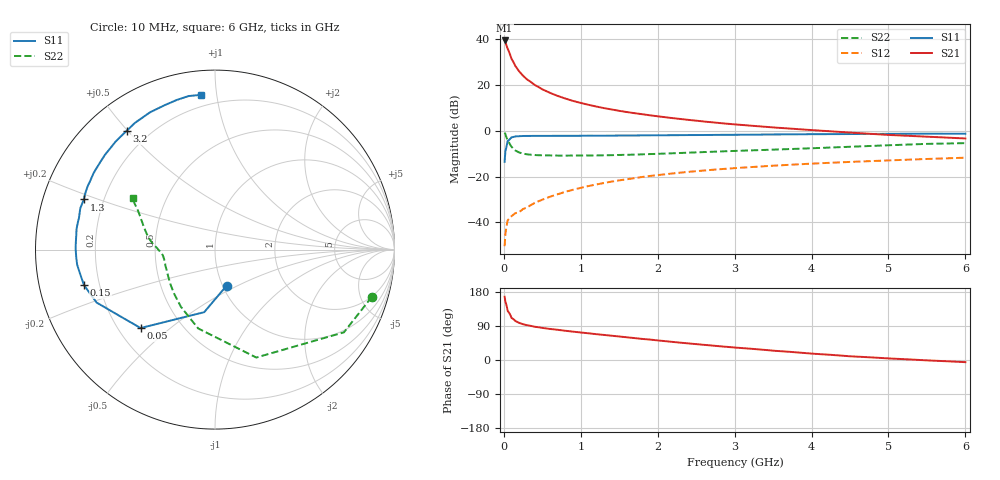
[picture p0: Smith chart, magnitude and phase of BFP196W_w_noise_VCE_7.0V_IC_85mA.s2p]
! (c) 2017  Infineon Technologies AG, Munich
! Infineon Technologies  Discrete & RF Semiconductors
! BFP196W
! VCE =  7.0 V,  IC =  85 mA
! Common Emitter S-Parameters:  Jan 2017
# GHz  S  MA  R  50
!  f  S11  S21  S12  S22
! GHz  MAG  ANG  MAG  ANG  MAG  ANG  MAG  ANG
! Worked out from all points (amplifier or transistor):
!   77 points, 10 MHz to 6 GHz, reference 50 ohm
!   highest |S21| = 39.6 dB at 10 MHz (marker M1)
!   |S21| within 3 dB of that: start of sweep to 43.19 MHz
!   unconditionally stable (mu >= 1): 542.9 MHz to 3.296 GHz
!   at 130 MHz: K = 0.52, MSG = 33.1 dB, |S12| = -36.5 dB
!   at 2.2 GHz: K = 1.04, MAG = 10.9 dB, |S12| = -18.6 dB
!   at 6 GHz: K = 0.94, MSG = 4.2 dB, |S12| = -11.7 dB
!   lowest NFmin = 1.73 dB at 450 MHz
!   S11 on the Smith chart (normalised r, x): 10 MHz: 1.04, -0.44; 50 MHz: 0.29, -0.40; 150 MHz: 0.14, -0.13; 1.3 GHz: 0.13, +0.18; 3.2 GHz: 0.12, +0.50; 6 GHz: 0.13, +0.91
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0.01  0.2111 -72.2  95.09 167.0  0.003 77.0  0.9124 -16.8
0.02  0.354 -99.8  88.38 154.3  0.0055 67.7  0.8535 -32.7
0.05  0.6024 -133.5  62.68 129.3  0.011 50.2  0.6437 -69.1
0.1  0.7227 -155.9  37.68 110.9  0.0136 44.2  0.4492 -102.0
0.15  0.7562 -164.8  26.24 102.9  0.0158 46.0  0.371 -120.8
0.2  0.7641 -170.0  19.94 97.9  0.0167 50.0  0.3367 -132.1
0.25  0.7726 -173.7  16.07 94.4  0.0195 51.4  0.3179 -140.4
0.3  0.7741 -176.4  13.42 91.9  0.0211 54.9  0.3067 -146.1
0.4  0.7768 179.5  10.14 87.8  0.0264 59.6  0.296 -153.9
0.5  0.7764 176.5  8.12 84.7  0.0312 62.4  0.2916 -158.8
0.6  0.7772 173.7  6.79 82.0  0.0362 62.9  0.2903 -162.3
0.7  0.7799 171.6  5.813 79.7  0.041 65.2  0.2877 -164.9
0.9  0.7781 167.0  4.518 74.8  0.0514 65.9  0.2885 -168.5
1.1  0.785 163.0  3.719 70.5  0.062 65.7  0.2899 -170.9
1.3  0.7827 159.1  3.15 66.2  0.0722 64.7  0.2919 -173.2
1.6  0.7927 153.4  2.58 59.9  0.0873 63.2  0.2996 -176.3
2.1  0.8019 144.3  1.988 49.7  0.1124 59.1  0.3189 179.3
3.1  0.8223 128.2  1.345 31.4  0.1568 50.0  0.3686 171.0
3.2  0.8246 126.7  1.304 29.9  0.1608 49.1  0.3733 170.0
4.1  0.8467 114.1  1.015 15.6  0.1953 41.2  0.4225 161.2
5.1  0.8618 103.3  0.801 3.2  0.229 33.2  0.4911 152.2
6  0.8655 95.0  0.682 -5.7  0.2589 26.1  0.5393 147.6
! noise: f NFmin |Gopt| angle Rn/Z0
0.45  1.73  0.57  -175  0.06
0.9  1.87  0.6  -168  0.08
1.9  2.74  0.7  -148  0.21
2.4  3.15  0.74  -143  0.34
